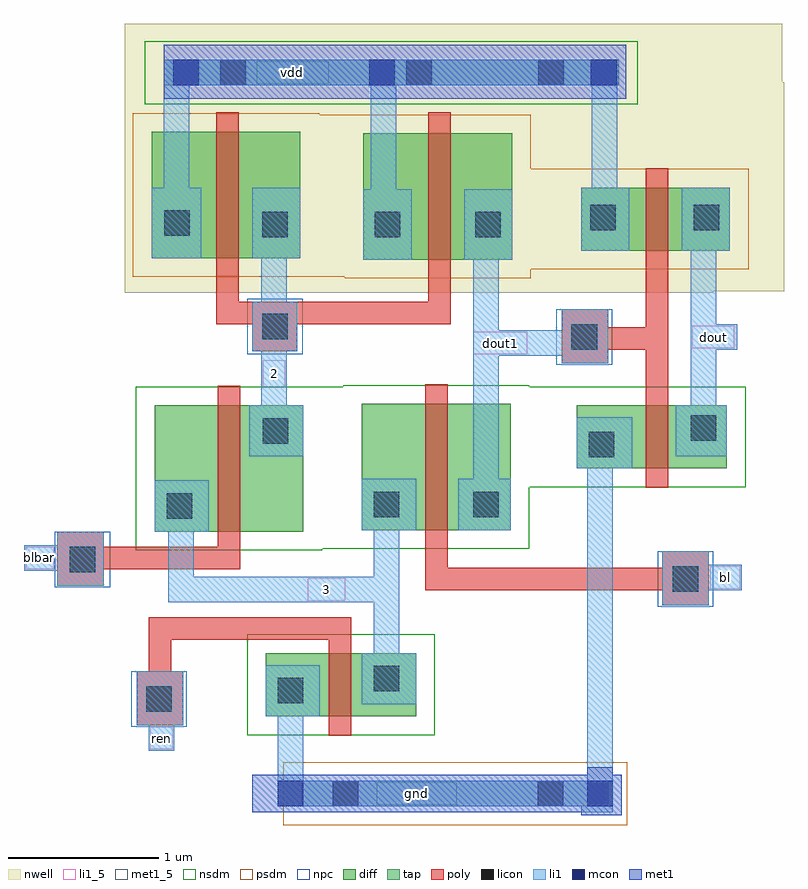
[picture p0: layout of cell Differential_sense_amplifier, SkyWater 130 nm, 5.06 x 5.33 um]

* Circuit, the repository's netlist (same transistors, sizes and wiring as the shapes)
* SPICE3 file created from sense_amp.ext - technology: sky130A
.SUBCKT sense_amp bl br dout en vdd gnd
X0 2 2 vdd vdd sky130_fd_pr__pfet_01v8 ad=0.3444 pd=2.5 as=0.3612 ps=2.54 w=0.84 l=0.15
X1 dout1 bl 3 gnd sky130_fd_pr__nfet_01v8 ad=0.3528 pd=2.52 as=0.3528 ps=2.52 w=0.84 l=0.15
X2 dout1 2 vdd vdd sky130_fd_pr__pfet_01v8 ad=0.3444 pd=2.5 as=0.3612 ps=2.54 w=0.84 l=0.15
X3 2 br 3 gnd sky130_fd_pr__nfet_01v8 ad=0.3528 pd=2.52 as=0.3528 ps=2.52 w=0.84 l=0.15
X4 dout dout1 vdd vdd sky130_fd_pr__pfet_01v8 ad=0.1722 pd=1.66 as=0.1806 ps=1.7 w=0.42 l=0.15
X5 3 en gnd gnd sky130_fd_pr__nfet_01v8 ad=0.1806 pd=1.7 as=0.1764 ps=1.68 w=0.42 l=0.15
X6 dout dout1 gnd gnd sky130_fd_pr__nfet_01v8 ad=0.1638 pd=1.62 as=0.1932 ps=1.76 w=0.42 l=0.15
.ENDS

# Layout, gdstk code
import gdstk
lib = gdstk.Library(unit=1e-6, precision=1e-09)
def R(c, l, rs):  # rectangles x0, y0, x1, y1
    for r in rs: c.add(gdstk.rectangle(r[:2], r[2:], *l))
nwell = (64, 20)
diff = (65, 20)
tap = (65, 44)
poly = (66, 20)
licon = (66, 44)
li1_5 = (67, 5)
li1 = (67, 20)
mcon = (67, 44)
met1_5 = (68, 5)
met1 = (68, 20)
nsdm = (93, 44)
psdm = (94, 20)
npc = (95, 20)

differential_sense_ampli = lib.new_cell('Differential_sense_amplifier')
R(differential_sense_ampli, nwell, [(-1.46,-1.99,2.46,-1.98), (-1.46,-1.98,2.93,-0.59), (-1.46,-0.59,2.92,-0.2)])
R(differential_sense_ampli, diff, [(-0.52,-4.81,0.48,-4.39), (-1.26,-3.58,-0.27,-2.74), (0.12,-3.57,1.11,-2.73), (1.55,-3.16,2.55,-2.74), (0.13,-1.77,1.12,-0.93), (-1.28,-1.76,-0.29,-0.92), (1.58,-1.71,2.57,-1.29)])
R(differential_sense_ampli, tap, [(-0.28,-5.41,1.76,-5.24), (-1.2,-0.61,1.83,-0.44)])
R(differential_sense_ampli, poly, [(-0.1,-4.94,0.05,-4.3), (-1.38,-4.87,-1.07,-4.51), (-1.3,-4.51,-1.15,-4.3), (-1.3,-4.3,0.05,-4.15), (2.12,-4.07,2.43,-3.97), (0.54,-3.97,2.43,-3.82), (-1.91,-3.94,-1.6,-3.83), (-1.91,-3.83,-0.69,-3.68), (0.54,-3.82,0.69,-2.6), (2.12,-3.82,2.43,-3.71), (-1.91,-3.68,-1.6,-3.58), (-0.84,-3.68,-0.69,-2.61), (2.01,-3.29,2.16,-2.37), (1.45,-2.46,1.76,-2.37), (-0.61,-2.38,-0.31,-2.2), (1.45,-2.37,2.16,-2.22), (1.45,-2.22,1.76,-2.1), (2.01,-2.22,2.16,-1.16), (-0.85,-2.2,0.71,-2.05), (-0.85,-2.05,-0.7,-0.79), (0.56,-2.05,0.71,-0.79)])
R(differential_sense_ampli, licon, [(-0.075,-5.41,0.095,-5.24), (1.29,-5.41,1.46,-5.24), (-1.315,-4.78,-1.145,-4.61), (-0.44,-4.725,-0.27,-4.555), (0.2,-4.645,0.37,-4.475), (2.19,-3.98,2.36,-3.81), (-1.825,-3.85,-1.655,-3.68), (-1.18,-3.495,-1.01,-3.325), (0.2,-3.485,0.37,-3.315), (0.86,-3.485,1.03,-3.315), (1.63,-3.085,1.8,-2.915), (-0.54,-2.995,-0.37,-2.825), (2.31,-2.975,2.48,-2.805), (1.515,-2.37,1.685,-2.2), (-0.545,-2.3,-0.375,-2.13), (-0.545,-1.62,-0.375,-1.45), (0.205,-1.62,0.375,-1.45), (0.875,-1.62,1.045,-1.45), (-1.195,-1.61,-1.025,-1.44), (1.64,-1.575,1.81,-1.405), (2.33,-1.575,2.5,-1.405), (-0.825,-0.61,-0.655,-0.44), (0.415,-0.61,0.585,-0.44), (1.295,-0.61,1.465,-0.44)])
R(differential_sense_ampli, li1_5, [(-1.29,-5.03,-1.14,-4.88), (-0.24,-4.04,0.01,-3.89), (2.44,-3.96,2.64,-3.81), (-2.12,-3.83,-1.93,-3.68), (-0.54,-2.62,-0.39,-2.44), (0.86,-2.4,1.22,-2.25), (2.32,-2.36,2.6,-2.21)])
R(differential_sense_ampli, li1, [(1.58,-5.45,1.79,-5.41), (-0.44,-5.41,1.79,-5.24), (-0.44,-5.24,-0.27,-4.81), (1.62,-5.24,1.79,-3.16), (-1.3,-5.04,-1.13,-4.87), (-1.38,-4.87,-1.07,-4.51), (-0.52,-4.81,-0.16,-4.47), (0.12,-4.73,0.48,-4.39), (0.2,-4.39,0.37,-4.05), (2.12,-4.07,2.43,-3.97), (-1.17,-4.05,0.37,-3.88), (2.12,-3.97,2.65,-3.8), (-1.91,-3.94,-1.6,-3.84), (-1.17,-3.88,-1,-3.58), (0.2,-3.88,0.37,-3.57), (-2.13,-3.84,-1.6,-3.67), (2.12,-3.8,2.43,-3.71), (-1.91,-3.67,-1.6,-3.58), (-1.26,-3.58,-0.9,-3.24), (0.12,-3.57,0.48,-3.23), (0.76,-3.57,1.11,-3.23), (0.86,-3.23,1.03,-2.41), (1.55,-3.16,1.92,-2.82), (-0.63,-3.08,-0.27,-2.74), (2.21,-3.08,2.55,-2.74), (-0.55,-2.74,-0.38,-2.38), (2.31,-2.74,2.48,-2.37), (1.45,-2.46,1.76,-2.41), (0.86,-2.41,1.76,-2.24), (-0.61,-2.38,-0.31,-2.05), (2.31,-2.37,2.62,-2.2), (0.86,-2.24,1.03,-1.77), (1.45,-2.24,1.76,-2.1), (2.31,-2.2,2.48,-1.71), (-0.55,-2.05,-0.38,-1.76), (0.13,-1.77,0.45,-1.3), (0.8,-1.77,1.12,-1.3), (-1.28,-1.76,-0.95,-1.29), (-0.61,-1.76,-0.29,-1.29), (1.58,-1.71,1.9,-1.29), (2.25,-1.71,2.57,-1.29), (0.18,-1.3,0.35,-0.61), (-1.2,-1.29,-1.03,-0.61), (1.65,-1.29,1.82,-0.61), (-1.2,-0.61,1.82,-0.44)])
R(differential_sense_ampli, mcon, [(-0.44,-5.41,-0.27,-5.24), (1.62,-5.41,1.79,-5.24), (-1.135,-0.61,-0.965,-0.44), (0.17,-0.61,0.34,-0.44), (1.645,-0.61,1.815,-0.44)])
R(differential_sense_ampli, met1_5, [(0.22,-5.4,0.75,-5.25), (-0.58,-0.6,-0.1,-0.45)])
R(differential_sense_ampli, met1, [(1.58,-5.47,1.85,-5.45), (-0.61,-5.45,1.85,-5.2), (1.62,-5.2,1.79,-5.15), (-1.2,-0.7,1.88,-0.34)])
R(differential_sense_ampli, nsdm, [(-0.645,-4.935,0.605,-4.265), (-1.385,-3.705,-0.145,-3.695), (-1.385,-3.695,1.235,-3.285), (-1.385,-3.285,2.675,-2.615), (-0.005,-2.615,1.235,-2.605), (-1.325,-0.735,1.955,-0.315)])
R(differential_sense_ampli, psdm, [(-0.405,-5.535,1.885,-5.115), (0.005,-1.895,1.245,-1.885), (-1.405,-1.885,1.245,-1.835), (-1.405,-1.835,2.695,-1.165), (-1.405,-1.165,1.245,-0.805), (-1.405,-0.805,-0.165,-0.795)])
R(differential_sense_ampli, npc, [(-1.415,-4.88,-1.045,-4.51), (2.09,-4.08,2.46,-3.71), (-1.925,-3.95,-1.555,-3.58), (1.415,-2.47,1.785,-2.1), (-0.645,-2.4,-0.275,-2.03)])
differential_sense_ampli.add(gdstk.Label('vdd', (-0.34,-0.525), layer=68, texttype=5))
differential_sense_ampli.add(gdstk.Label('dout1', (1.04,-2.325), layer=67, texttype=5))
differential_sense_ampli.add(gdstk.Label('dout', (2.46,-2.285), layer=67, texttype=5))
differential_sense_ampli.add(gdstk.Label('bl', (2.54,-3.885), layer=67, texttype=5))
differential_sense_ampli.add(gdstk.Label('blbar', (-2.025,-3.755), layer=67, texttype=5))
differential_sense_ampli.add(gdstk.Label('ren', (-1.215,-4.955), layer=67, texttype=5))
differential_sense_ampli.add(gdstk.Label('2', (-0.465,-2.53), layer=67, texttype=5))
differential_sense_ampli.add(gdstk.Label('3', (-0.115,-3.965), layer=67, texttype=5))
differential_sense_ampli.add(gdstk.Label('gnd', (0.485,-5.325), layer=68, texttype=5))

lib.write_gds('Differential_sense_amplifier.gds')
